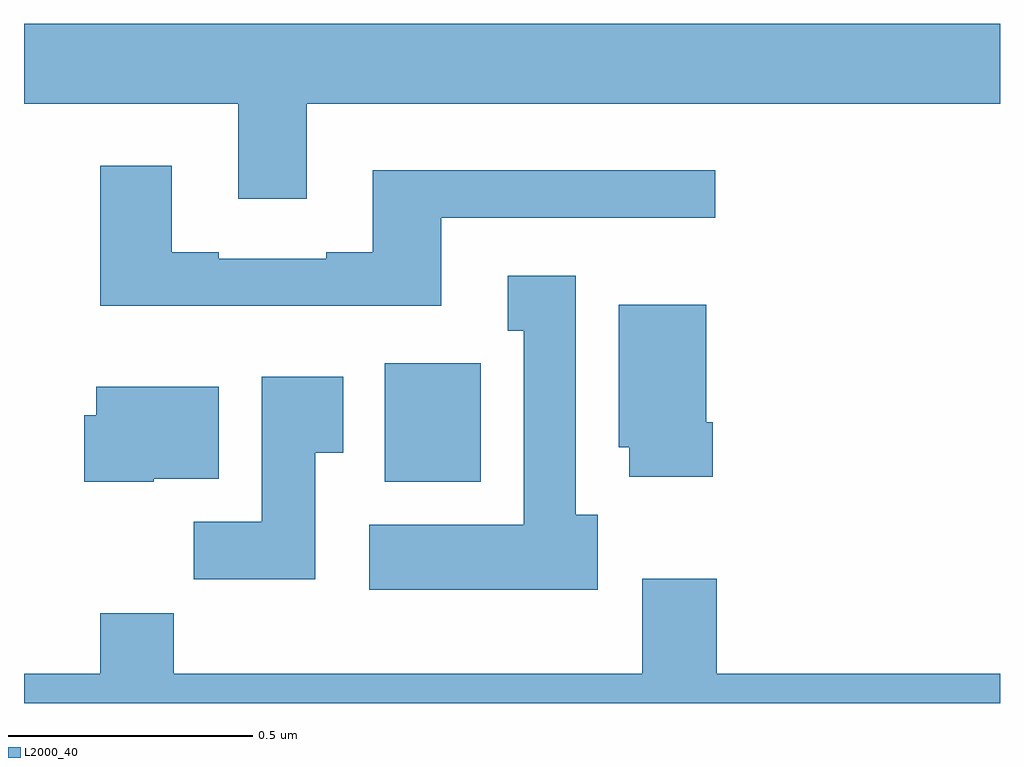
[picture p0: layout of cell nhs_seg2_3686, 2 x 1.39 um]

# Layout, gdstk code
import gdstk
lib = gdstk.Library(unit=1e-6, precision=1e-09)
def R(c, l, rs):  # rectangles x0, y0, x1, y1
    for r in rs: c.add(gdstk.rectangle(r[:2], r[2:], *l))
def P(c, l, *ps):  # polygons
    for p in ps: c.add(gdstk.Polygon(p, *l))
L2000_40 = (2000, 40)

nhs_seg2_3686 = lib.new_cell('nhs_seg2_3686')
R(nhs_seg2_3686, L2000_40, [(157.739,588.254,157.936,588.496)])
P(nhs_seg2_3686, L2000_40, [(157.579,589.028),(159,589.028),(159,589.192),(157,589.192),(157,589.028),(157.439,589.028),(157.439,588.834),(157.579,588.834)],
  [(157.855,588.795),(158.416,588.795),(158.416,588.892),(157.715,588.892),(157.715,588.724),(157.619,588.724),(157.619,588.711),(157.399,588.711),(157.399,588.724),(157.303,588.724),(157.303,588.901),(157.156,588.901),(157.156,588.614),(157.855,588.614)],
  [(158.176,588.186),(158.131,588.186),(158.131,588.676),(157.991,588.676),(157.991,588.563),(158.024,588.563),(158.024,588.166),(157.707,588.166),(157.707,588.032),(158.176,588.032)],
  [(158.411,588.376),(158.398,588.376),(158.398,588.616),(158.219,588.616),(158.219,588.324),(158.24,588.324),(158.24,588.264),(158.411,588.264)],
  [(157.597,588.313),(157.654,588.313),(157.654,588.469),(157.487,588.469),(157.487,588.172),(157.348,588.172),(157.348,588.054),(157.597,588.054)],
  [(157.266,588.26),(157.399,588.26),(157.399,588.448),(157.148,588.448),(157.148,588.39),(157.123,588.39),(157.123,588.254),(157.266,588.254)],
  [(159,587.86),(158.42,587.86),(158.42,588.055),(158.267,588.055),(158.267,587.86),(157.307,587.86),(157.307,587.984),(157.156,587.984),(157.156,587.86),(157,587.86),(157,587.8),(159,587.8)])

lib.write_gds('nhs_seg2_3686.gds')
